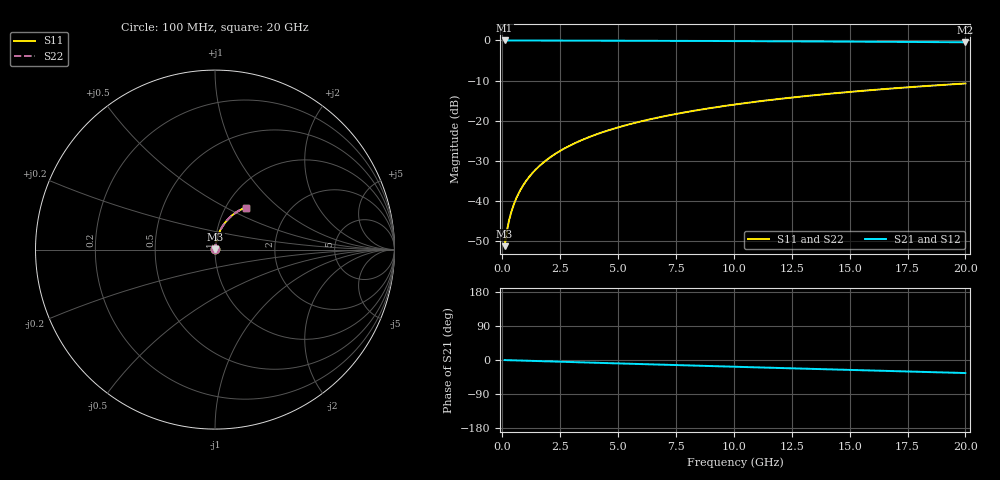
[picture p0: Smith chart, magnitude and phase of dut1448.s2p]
! Touchstone file exported from HFSS 2026.1.0
!  File:  C:/ffzhzh/LocalFiles/Ansys_Project_Files/temp_train_BSMRDL_1448_1783180691_22436.aedt
!  Generated:  11:59:26 PM Jul  4, 2026
!  Design:  BSMRDL
!  Project:  temp_train_BSMRDL_1448_1783180691_22436
! Variables:
!  h_bsmrdl = 4.51um
!  h_ox = 20um
!  h_rdl = 5um
!  h_sub = 80um
!  h_tmrdl = 5um
!  h_tsv = 80um
!  h_via = 3um
!  l_bsmrdl = 511.89um
!  l_sub = 911.89um
!  l_tmrdl = 200um
!  m_sub = 200um
!  pitch = 44.5um
!  r_tsv = 6um
!  s_tmrdl = 10um
!  w_bsmrdl = 22.2um
!  w_sub = 500um
!  w_tmrdl = 12um
!  x_tsv_center1 = 206um
!  x_tsv_center2 = 740.09um
!  x_tsv_center3 = 952.09um
!  x_tsv_center4 = 1486.18um
!  x_tsv_center5 = 1698.18um
!  x_tsv_center6 = 2232.27um
# GHz S MA R 50.000000
! Terminal data exported
! Port[1] = BSM_RDL1_1_T1
! Port[2] = BSM_RDL1_1_T2
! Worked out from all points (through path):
!   200 points, 100 MHz to 20 GHz, reference 50 ohm
!   highest |S21| = -0.02 dB at 100 MHz (marker M1); lowest = -0.5 dB at 20 GHz (marker M2)
!   group delay of S21, straight-line fit = 4.77 ps
!   lowest |S11| = -51.3 dB at 100 MHz (marker M3), VSWR 1.01, Z = 50.2 + j0.188 ohm
!   |S11| at or under -10 dB: start of sweep to end of sweep
!   |S22| runs from -51.3 to -10.7 dB; largest |S21 - S12| = 4.3e-15
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0.1  0.002737 43.1  0.998 -0.2  0.998 -0.2  0.002737 43.1
! Gamma 0 0 0 0
! Port Impedance 50 0 50 0
0.2  0.004245 59.7  0.9979 -0.4  0.9979 -0.4  0.004245 59.7
0.3  0.005858 66.9  0.9977 -0.6  0.9977 -0.6  0.005858 66.9
0.4  0.007477 70.9  0.9976 -0.7  0.9976 -0.7  0.007477 70.9
0.5  0.009098 73.5  0.9976 -0.9  0.9976 -0.9  0.009097 73.5
0.6  0.01072 75.4  0.9975 -1.1  0.9975 -1.1  0.01072 75.4
0.8  0.01399 77.8  0.9974 -1.5  0.9974 -1.5  0.01399 77.8
1.1  0.01894 79.7  0.9972 -2.0  0.9972 -2.0  0.01894 79.8
1.5  0.02557 80.8  0.9969 -2.7  0.9969 -2.7  0.02557 80.8
1.8  0.03054 81.1  0.9966 -3.3  0.9966 -3.3  0.03054 81.1
2.1  0.03551 81.1  0.9963 -3.8  0.9963 -3.8  0.03551 81.1
2.7  0.0454 80.8  0.9956 -4.9  0.9956 -4.9  0.0454 80.8
3.5  0.05846 79.9  0.9945 -6.4  0.9945 -6.4  0.05846 79.9
4.2  0.06974 78.9  0.9933 -7.6  0.9933 -7.6  0.06974 78.9
5  0.08248 77.7  0.9919 -9.0  0.9919 -9.0  0.08248 77.7
5.9  0.0966 76.3  0.9901 -10.6  0.9901 -10.6  0.0966 76.3
6.8  0.1105 74.8  0.9882 -12.2  0.9882 -12.2  0.1105 74.8
8.3  0.1333 72.4  0.9847 -14.8  0.9847 -14.8  0.1333 72.4
10.1  0.1599 69.5  0.98 -17.9  0.98 -17.9  0.1599 69.5
13.4  0.2066 64.2  0.9703 -23.5  0.9703 -23.5  0.2066 64.2
16.7  0.2503 59.0  0.9594 -29.0  0.9594 -29.0  0.2503 59.0
20  0.2905 53.8  0.9475 -34.4  0.9475 -34.4  0.2905 53.8
